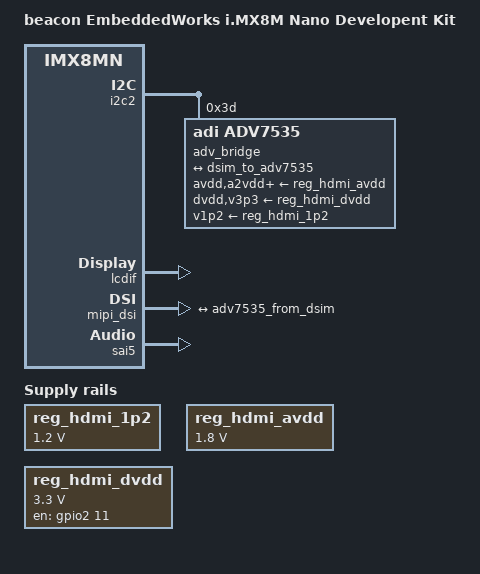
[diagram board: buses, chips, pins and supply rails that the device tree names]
// SPDX-License-Identifier: (GPL-2.0 OR MIT)
/*
 * Copyright 2020 Compass Electronics Group, LLC
 */

/dts-v1/;

#include "fsl-imx8mn.dtsi"
#include "beacon-imx8mn-som.dtsi"
#include "beacon-imx8mn-baseboard.dtsi"

/ {
	model = "beacon EmbeddedWorks i.MX8M Nano Developent Kit";
	compatible = "fsl,imx8mn";

	chosen {
		stdout-path = &uart2;
	};

	reg_hdmi_1p2: regulator-hdmi-avdd {
		compatible = "regulator-fixed";
		regulator-name = "hdmi_v1p2";
		regulator-min-microvolt = <1200000>;
		regulator-max-microvolt = <1200000>;
	};

	reg_hdmi_avdd: regulator-hdmi-avdd {
		compatible = "regulator-fixed";
		regulator-name = "hdmi_avdd";
		regulator-min-microvolt = <1800000>;
		regulator-max-microvolt = <1800000>;
	};

	reg_hdmi_dvdd: regulator-hdmi-dvdd {
		pinctrl-names = "default";
		pinctrl-0 = <&pinctrl_hdmi>;
		compatible = "regulator-fixed";
		regulator-name = "hdmi_pwr_en";
		regulator-min-microvolt = <3300000>;
		regulator-max-microvolt = <3300000>;
		gpio = <&gpio2 11 GPIO_ACTIVE_HIGH>;
		enable-active-high;
		startup-delay-us = <70000>;
	};

	hdmi_sound: hdmi-sound {
		compatible = "simple-audio-card";
		simple-audio-card,name = "hdmi-sound";
		simple-audio-card,format = "i2s";
		#sound-dai-cells = <0>;
		status = "okay";
		simple-audio-card,cpu {
			sound-dai = <&sai5 0>;
			system-clock-direction-out;
		};
		simple-audio-card,codec {
			sound-dai = <&adv_bridge 0>;
		};
	};
};

&i2c2 {
	adv_bridge: adv7535@3d {
		compatible = "adi,adv7535";
		reg = <0x3d>;
		avdd-supply = <&reg_hdmi_avdd>;
		a2vdd-supply = <&reg_hdmi_avdd>;
		dvdd-supply = <&reg_hdmi_dvdd>;
		pvdd-supply = <&reg_hdmi_avdd>;
		v1p2-supply = <&reg_hdmi_1p2>;
		v3p3-supply = <&reg_hdmi_dvdd>;
		adi,addr-cec = <0x3b>;
		adi,dsi-lanes = <4>;
		pinctrl-names = "default";
		pinctrl-0 = <&pinctrl_synaptics_dsx_io>;
		#sound-dai-cells = <0>;
		status = "okay";

		ports {
			#address-cells = <1>;
			#size-cells = <0>;

			port@0 {
				reg = <0>;
				adv7535_from_dsim: endpoint {
					remote-endpoint = <&dsim_to_adv7535>;
				};
			};

			port@2 {
				reg = <2>;
				codec_adv7535: endpoint {
					remove-endpoint = <&hdmi_sound>;
				};
			};
		};
	};
};

&lcdif {
	status = "okay";
};

&mipi_dsi {
	status = "okay";

	port@1 {
		dsim_to_adv7535: endpoint {
			remote-endpoint = <&adv7535_from_dsim>;
		};
	};
};

&sai5 {
	pinctrl-names = "default";
	pinctrl-0 = <&pinctrl_sai5>;
	assigned-clocks = <&clk IMX8MN_CLK_SAI5>;
	assigned-clock-parents = <&clk IMX8MN_AUDIO_PLL1_OUT>;
	assigned-clock-rates = <24576000>;
	#sound-dai-cells = <0>;
	status = "okay";
};

&iomuxc {
	pinctrl_hdmi: hdmigrp {
		fsl,pins = <
			MX8MN_IOMUXC_SD1_STROBE_GPIO2_IO11              0x16
		>;
	};

	pinctrl_sai5: sai5grp {
		fsl,pins = <
			MX8MN_IOMUXC_SAI5_RXD3_SAI5_TX_DATA0	0xd6
			MX8MN_IOMUXC_SAI5_RXD2_SAI5_TX_BCLK	0xd6
			MX8MN_IOMUXC_SAI5_RXD1_SAI5_TX_SYNC	0xd6
		>;
	};

	pinctrl_synaptics_dsx_io: synaptics_dsx_iogrp {
		fsl,pins = <
			MX8MN_IOMUXC_GPIO1_IO09_GPIO1_IO9		0x19
		>;
	};
};
